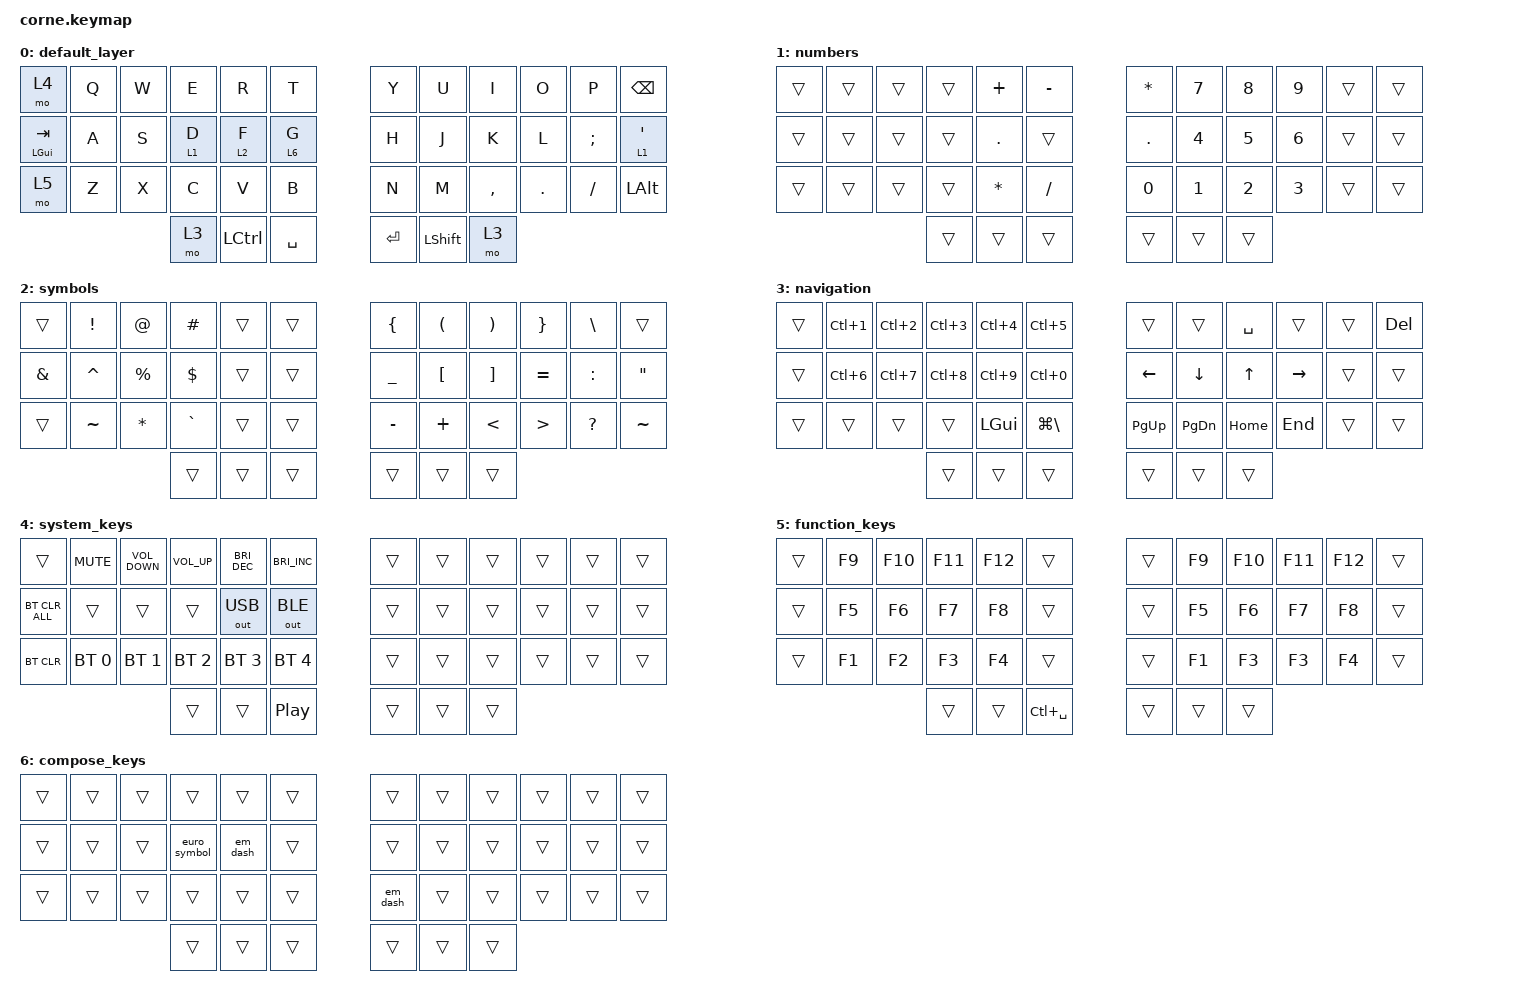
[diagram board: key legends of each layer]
/*
 * Copyright (c) 2020 The ZMK Contributors
 *
 * SPDX-License-Identifier: MIT
 */

#include <behaviors.dtsi>
#include <dt-bindings/zmk/bt.h>
#include <dt-bindings/zmk/keys.h>
#include <dt-bindings/zmk/outputs.h>

&lt {
    // flavor = "hold-preferred";
    // flavor = "tap-preferred";

    tapping-term-ms = <160>;
};

/ {
    behaviors {
        q1: q1 {
            compatible = "zmk,behavior-mod-morph";
            label = "Q1";
            bindings = <&kp Q>, <&kp LG(NUMBER_1)>;

            #binding-cells = <0>;
            mods = <(MOD_LGUI)>;
        };

        w2: w2 {
            compatible = "zmk,behavior-mod-morph";
            label = "W2";
            bindings = <&kp W>, <&kp LG(NUMBER_2)>;

            #binding-cells = <0>;
            mods = <(MOD_LGUI)>;
        };

        e3: e3 {
            compatible = "zmk,behavior-mod-morph";
            label = "E3";
            bindings = <&kp E>, <&kp LG(NUMBER_3)>;

            #binding-cells = <0>;
            mods = <(MOD_LGUI)>;
        };

        r4: r4 {
            compatible = "zmk,behavior-mod-morph";
            label = "R4";
            bindings = <&kp R>, <&kp LG(NUMBER_4)>;

            #binding-cells = <0>;
            mods = <(MOD_LGUI)>;
        };

        t5: t5 {
            compatible = "zmk,behavior-mod-morph";
            label = "T5";
            bindings = <&kp T>, <&kp LG(NUMBER_5)>;

            #binding-cells = <0>;
            mods = <(MOD_LGUI)>;
        };

        y6: y6 {
            compatible = "zmk,behavior-mod-morph";
            label = "Y6";
            bindings = <&kp Y>, <&kp NUMBER_6>;

            #binding-cells = <0>;
            mods = <(MOD_RGUI)>;
        };

        i8: i8 {
            compatible = "zmk,behavior-mod-morph";
            label = "I8";
            bindings = <&kp I>, <&kp N8>;

            #binding-cells = <0>;
            mods = <(MOD_RGUI)>;
        };

        u7: u7 {
            compatible = "zmk,behavior-mod-morph";
            label = "U7";
            bindings = <&kp U>, <&kp NUMBER_7>;

            #binding-cells = <0>;
            mods = <(MOD_RGUI)>;
        };

        o9: o9 {
            compatible = "zmk,behavior-mod-morph";
            label = "O9";
            bindings = <&kp O>, <&kp N9>;

            #binding-cells = <0>;
            mods = <(MOD_RGUI)>;
        };

        p0: p0 {
            compatible = "zmk,behavior-mod-morph";
            label = "P0";
            bindings = <&kp P>, <&kp N0>;

            #binding-cells = <0>;
            mods = <(MOD_RGUI)>;
        };
    };

    combos {
        compatible = "zmk,combos";

        esc-right {
            bindings = <&kp ESCAPE>;
            key-positions = <19 20>;
        };

        esc-left {
            bindings = <&kp ESC>;
            key-positions = <15 16>;
        };

        shift-hold {
            bindings = <&kp LSHFT>;
            key-positions = <12 24>;
            layers = <0>;
            timeout-ms = <200>;
        };
    };

    macros {
        em_dash: em_dash {
            compatible = "zmk,behavior-macro";
            wait-ms = <40>;
            tap-ms = <40>;
            #binding-cells = <0>;
            bindings =
                <&macro_press>,
                <&kp LS(LC(U))>,
                <&macro_tap>,
                <&kp N2 &kp N0 &kp N1 &kp N4>,
                <&macro_release>,
                <&kp LS(LC(U))>,
                <&macro_tap>,
                <&kp SPACE>;

            label = "EM_DASH";
        };

        euro_symbol: euro_symbol {
            compatible = "zmk,behavior-macro";
            #binding-cells = <0>;
            bindings = <&kp LC(LS(U)) &kp N2 &kp N0 &kp A &kp C &kp SPACE>;
            label = "EURO_SYMBOL";
        };
    };

    keymap {
        compatible = "zmk,keymap";

        default_layer {
            // -----------------------------------------------------------------------------------------
            // |  TAB |  Q  |  W  |  E  |  R  |  T  |   |  Y  |  U   |  I  |  O  |  P  | BKSP |
            // | CTRL |  A  |  S  |  D  |  F  |  G  |   |  H  |  J   |  K  |  L  |  ;  |  '   |
            // | SHFT |  Z  |  X  |  C  |  V  |  B  |   |  N  |  M   |  ,  |  .  |  /  | ESC  |
            //                    | GUI | LWR | SPC |   | ENT | RSE  | ALT |

            bindings = <
&mo 4         &kp Q  &kp W  &kp E    &kp R      &kp T        &kp Y      &kp U       &kp I      &kp O    &kp P          &kp BSPC
&mt LGUI TAB  &kp A  &kp S  &lt 1 D  &lt 2 F    &lt 6 G      &kp H      &kp J       &kp K      &kp L    &kp SEMICOLON  &lt 1 SINGLE_QUOTE
&mo 5         &kp Z  &kp X  &kp C    &kp V      &kp B        &kp N      &kp M       &kp COMMA  &kp DOT  &kp FSLH       &kp LALT
                            &mo 3    &kp LCTRL  &kp SPACE    &kp ENTER  &kp LSHIFT  &mo 3
            >;
        };

        numbers {
            // -----------------------------------------------------------------------------------------
            // |  TAB |  1  |  2  |  3  |  4  |  5  |   |  6  |  7  |  8  |  9  |  0  | BKSP |
            // | BTCLR| BT1 | BT2 | BT3 | BT4 | BT5 |   | LFT | DWN |  UP | RGT |     |      |
            // | SHFT |     |     |     |     |     |   |     |     |     |     |     |      |
            //                    | GUI |     | SPC |   | ENT |     | ALT |

            bindings = <
&trans  &trans  &trans  &trans  &kp PLUS      &kp MINUS    &kp ASTERISK  &kp N7  &kp N8  &kp N9  &trans  &trans
&trans  &trans  &trans  &trans  &kp DOT       &trans       &kp DOT       &kp N4  &kp N5  &kp N6  &trans  &trans
&trans  &trans  &trans  &trans  &kp ASTERISK  &kp SLASH    &kp N0        &kp N1  &kp N2  &kp N3  &trans  &trans
                        &trans  &trans        &trans       &trans        &trans  &trans
            >;
        };

        symbols {
            // -----------------------------------------------------------------------------------------
            // |  TAB |  !  |  @  |  #  |  $  |  %  |   |  ^  |  &  |  *  |  (  |  )  | BKSP |
            // | CTRL |     |     |     |     |     |   |  -  |  =  |  [  |  ]  |  \  |  `   |
            // | SHFT |     |     |     |     |     |   |  _  |  +  |  {  |  }  | "|" |  ~   |
            //                    | GUI |     | SPC |   | ENT |     | ALT |

            bindings = <
&trans         &kp EXCL   &kp AT        &kp HASH    &trans  &trans    &kp LEFT_BRACE  &kp LEFT_PARENTHESIS  &kp RIGHT_PARENTHESIS  &kp RIGHT_BRACE   &kp BACKSLASH  &trans
&kp AMPERSAND  &kp CARET  &kp PERCENT   &kp DOLLAR  &trans  &trans    &kp UNDERSCORE  &kp LEFT_BRACKET      &kp RIGHT_BRACKET      &kp EQUAL         &kp COLON      &kp DOUBLE_QUOTES
&trans         &kp TILDE  &kp ASTERISK  &kp GRAVE   &trans  &trans    &kp MINUS       &kp PLUS              &kp LESS_THAN          &kp GREATER_THAN  &kp QUESTION   &kp TILDE
                                        &trans      &trans  &trans    &trans          &trans                &trans
            >;
        };

        navigation {
            bindings = <
&trans  &kp LC(N1)  &kp LC(N2)  &kp LC(N3)  &kp LC(N4)  &kp LC(N5)           &trans     &trans     &kp SPACE  &trans     &trans  &kp DEL
&trans  &kp LC(N6)  &kp LC(N7)  &kp LC(N8)  &kp LC(N9)  &kp LC(N0)           &kp LEFT   &kp DOWN   &kp UP     &kp RIGHT  &trans  &trans
&trans  &trans      &trans      &trans      &kp LGUI    &kp LG(BACKSLASH)    &kp PG_UP  &kp PG_DN  &kp HOME   &kp END    &trans  &trans
                                &trans      &trans      &trans               &trans     &trans     &trans
            >;
        };

        system_keys {
            bindings = <
&trans          &kp K_MUTE    &kp C_VOLUME_DOWN  &kp C_VOLUME_UP  &kp C_BRIGHTNESS_DEC  &kp C_BRIGHTNESS_INC    &trans  &trans  &trans  &trans  &trans  &trans
&bt BT_CLR_ALL  &trans        &trans             &trans           &out OUT_USB          &out OUT_BLE            &trans  &trans  &trans  &trans  &trans  &trans
&bt BT_CLR      &bt BT_SEL 0  &bt BT_SEL 1       &bt BT_SEL 2     &bt BT_SEL 3          &bt BT_SEL 4            &trans  &trans  &trans  &trans  &trans  &trans
                                                 &trans           &trans                &kp C_PLAY_PAUSE        &trans  &trans  &trans
            >;
        };

        function_keys {
            bindings = <
&trans  &kp F9  &kp F10  &kp F11  &kp F12  &trans           &trans  &kp F9  &kp F10  &kp F11  &kp F12  &trans
&trans  &kp F5  &kp F6   &kp F7   &kp F8   &trans           &trans  &kp F5  &kp F6   &kp F7   &kp F8   &trans
&trans  &kp F1  &kp F2   &kp F3   &kp F4   &trans           &trans  &kp F1  &kp F3   &kp F3   &kp F4   &trans
                         &trans   &trans   &kp LC(SPACE)    &trans  &trans  &trans
            >;
        };

        compose_keys {
            bindings = <
&trans  &trans  &trans  &trans        &trans    &trans    &trans    &trans  &trans  &trans  &trans  &trans
&trans  &trans  &trans  &euro_symbol  &em_dash  &trans    &trans    &trans  &trans  &trans  &trans  &trans
&trans  &trans  &trans  &trans        &trans    &trans    &em_dash  &trans  &trans  &trans  &trans  &trans
                        &trans        &trans    &trans    &trans    &trans  &trans
            >;
        };
    };

    conditional_layers { compatible = "zmk,conditional-layers"; };
};
